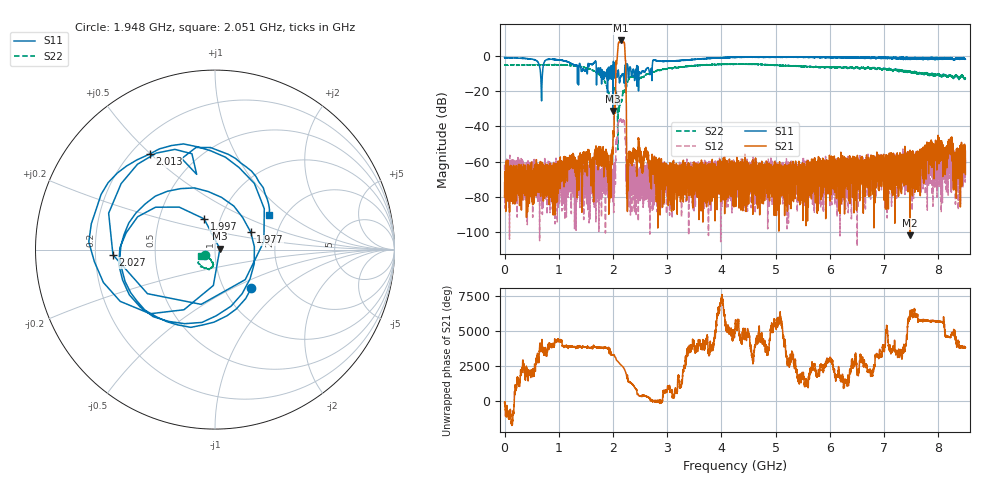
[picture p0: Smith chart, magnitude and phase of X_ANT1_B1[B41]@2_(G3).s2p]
#  HZ  S  RI  R  50.00
! Rohde & Schwarz Vector Network Analyzer
! Rohde-Schwarz,ZNBT8-20Port,1318700624101681,3.50
! Created: UTC 7/15/2025, 2:10:26 PM
! freq[Hz]  re:S1010  im:S1010  re:S0510  im:S0510  re:S1005  im:S1005  re:S55  im:S55
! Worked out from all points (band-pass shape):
!   8500 points, 1 MHz to 8.5 GHz, reference 50 ohm
!   highest |S21| = 8.91 dB at 2.143 GHz (marker M1); lowest = -101.9 dB at 7.474 GHz (marker M2)
!   |S21| within 3 dB of the highest: 2.094 GHz to 2.215 GHz (121.7 MHz wide, 5.65 % of centre)
!   lowest |S11| = -31.1 dB at 1.998 GHz (marker M3), VSWR 1.06, Z = 52.8 + j0.497 ohm
!   |S11| at or under -10 dB: 663.7 MHz to 698.5 MHz (34.78 MHz wide, 5.11 % of centre); 2.105 GHz to 2.176 GHz (70.56 MHz wide, 3.3 % of centre); 2.18 GHz to 2.213 GHz (33.31 MHz wide, 1.52 % of centre)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
!   |S22| runs from -53.3 to -4.3 dB; largest |S21 - S12| = 2.8
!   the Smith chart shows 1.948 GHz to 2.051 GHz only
!   S11 on the Smith chart (normalised r, x): 1.948 GHz: 1.34, -0.63; 1.977 GHz: 1.46, +0.30; 1.997 GHz: 0.84, +0.30; 2.013 GHz: 0.27, +0.50; 2.027 GHz: 0.27, -0.02; 2.051 GHz: 1.66, +0.73
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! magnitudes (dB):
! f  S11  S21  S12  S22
! 1 MHz  -0.9  -72.1  -61.7  -5.1
! 1.418 GHz  -8.6  -62.8  -68.9  -6.1
! 1.948 GHz  -10.6  -62.0  -69.3  -23.7
! 1.977 GHz  -13.1  -57.2  -67.8  -23.3
! 1.997 GHz  -14.8  -53.3  -66.8  -20.8
! 1.998 GHz  -31.1  -48.7  -71.9  -20.4
! 2.013 GHz  -3.8  -44.7  -89.0  -18.7
! 2.027 GHz  -4.9  -28.3  -66.0  -18.2
! 2.051 GHz  -8.9  -12.9  -56.9  -21.2
! 2.093 GHz  -8.1  5.7  -39.0  -36.1
! 2.143 GHz  -11.6  8.9  -36.0  -25.5
! 2.205 GHz  -15.2  7.7  -36.9  -19.5
! 2.292 GHz  -11.1  -54.7  -77.6  -13.1
! 2.613 GHz  -7.4  -53.3  -72.7  -10.4
! 2.834 GHz  -2.8  -62.5  -62.7  -8.2
! 4.251 GHz  -0.7  -61.2  -80.5  -4.6
! 5.667 GHz  -0.4  -70.2  -69.0  -6.2
! 7.084 GHz  -0.9  -57.9  -68.5  -7.3
! 7.474 GHz  -1.4  -101.9  -80.9  -9.2
! 8.219 GHz  -1.5  -53.5  -62.2  -10.9
! 8.314 GHz  -1.6  -65.8  -63.2  -11.0
! 8.5 GHz  -1.8  -67.3  -63.0  -12.4
